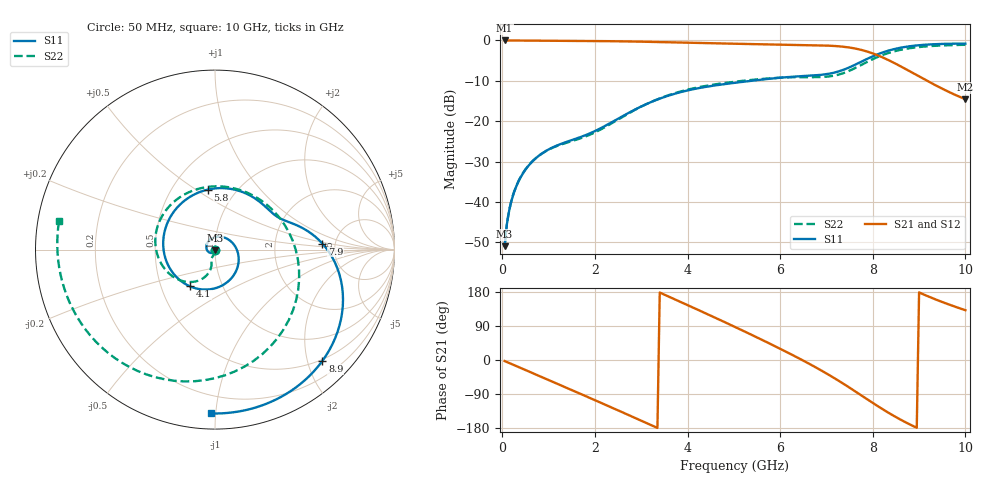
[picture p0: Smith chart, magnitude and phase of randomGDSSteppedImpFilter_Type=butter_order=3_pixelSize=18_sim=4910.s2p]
! freq	dB(S11)	phase(S11)	dB(S12)	phase(S12)
!  dB(S21)	phase(S21)	dB(S22)	phase(S22)
!S-par simulation data
#  GHz  S  DB  R 50
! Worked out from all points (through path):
!   200 points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, 50 MHz to 10 GHz, reference 50 ohm
!   highest |S21| = 0.00 dB at 50 MHz (marker M1); lowest = -14.5 dB at 10 GHz (marker M2)
!   group delay of S21, straight-line fit = 168 ps
!   lowest |S11| = -50.9 dB at 50 MHz (marker M3), VSWR 1.01, Z = 50 - j0.283 ohm
!   |S11| at or under -10 dB: start of sweep to 5.373 GHz
!   |S22| runs from -50.8 to -1.1 dB; largest |S21 - S12| = 0
!   S11 on the Smith chart (normalised r, x): 50 MHz: 1.00, -0.01; 4.1 GHz: 0.70, -0.31; 5.8 GHz: 0.74, +0.56; 7.9 GHz: 3.94, +0.41; 8.9 GHz: 0.47, -2.27; 10 GHz: 0.09, -0.97
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0.05  -50.94 -85.5  -0.00 -2.7  -0.00 -2.7  -50.82 -83.2
0.1  -45.41 -93.2  -0.01 -5.4  -0.01 -5.4  -45.29 -87.5
0.2  -39.60 -104.2  -0.02 -10.6  -0.02 -10.6  -39.49 -92.5
0.5  -31.99 -131.5  -0.04 -26.4  -0.04 -26.4  -31.92 -101.6
1.15  -26.16 168.2  -0.08 -60.7  -0.08 -60.7  -26.27 -112.2
1.75  -23.67 102.2  -0.13 -92.6  -0.13 -92.6  -23.98 -109.2
2.2  -21.29 49.5  -0.17 -116.7  -0.17 -116.7  -21.57 -103.3
2.65  -18.42 1.6  -0.23 -141.0  -0.23 -141.0  -18.56 -103.3
3.4  -14.41 -66.3  -0.40 178.0  -0.40 178.0  -14.34 -117.1
4.1  -12.13 -124.1  -0.59 139.4  -0.59 139.4  -11.92 -136.5
4.6  -11.13 -165.5  -0.71 111.4  -0.71 111.4  -10.87 -151.3
5.05  -10.45 156.8  -0.82 85.8  -0.82 85.8  -10.18 -165.3
5.8  -9.45 96.6  -0.99 41.8  -0.99 41.8  -9.36 166.2
6.25  -9.00 65.7  -1.08 14.2  -1.08 14.2  -9.12 142.2
6.7  -8.69 41.8  -1.17 -14.8  -1.17 -14.8  -9.09 108.2
7.35  -7.33 21.5  -1.54 -61.4  -1.54 -61.4  -8.16 33.5
7.65  -5.84 13.0  -2.07 -85.1  -2.07 -85.1  -6.66 -6.6
7.9  -4.45 3.2  -2.82 -105.3  -2.82 -105.3  -5.19 -37.8
8.35  -2.48 -18.7  -4.93 -140.1  -4.93 -140.1  -3.07 -85.5
8.9  -1.29 -46.0  -8.28 -175.9  -8.28 -175.9  -1.76 -129.5
9.4  -0.90 -67.9  -11.36 157.7  -11.36 157.7  -1.29 -160.2
10  -0.79 -91.4  -14.53 131.4  -14.53 131.4  -1.08 169.8
